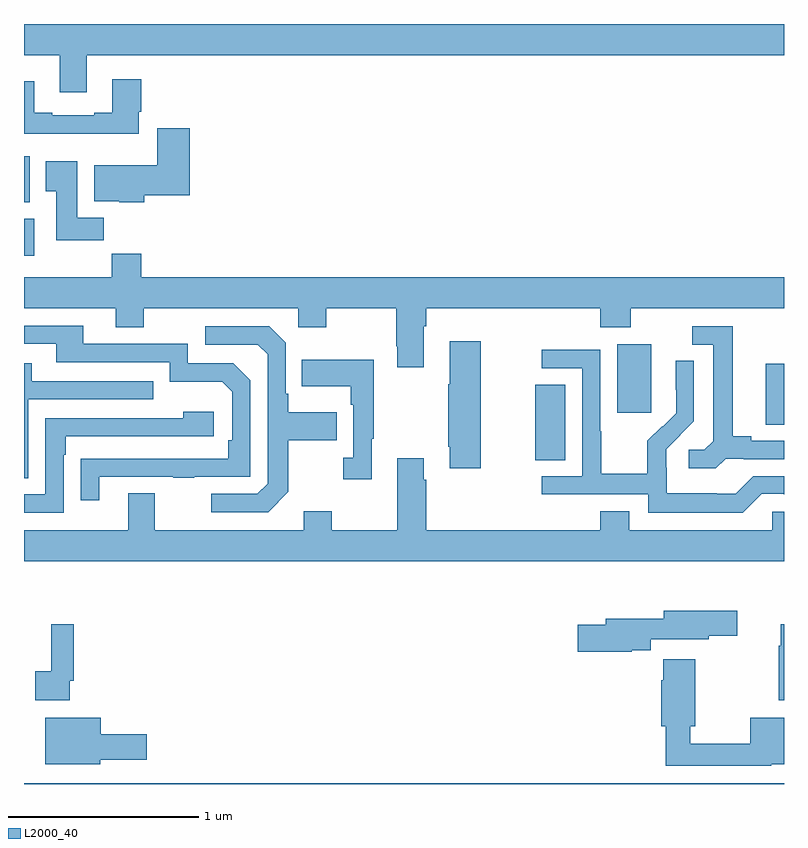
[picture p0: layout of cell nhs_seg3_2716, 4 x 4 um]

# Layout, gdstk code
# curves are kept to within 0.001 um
import gdstk
lib = gdstk.Library(unit=1e-6, precision=1e-09)
def R(c, l, rs):  # rectangles x0, y0, x1, y1
    for r in rs: c.add(gdstk.rectangle(r[:2], r[2:], *l))
def P(c, l, *ps):  # polygons
    for p in ps: c.add(gdstk.Polygon(p, *l))
L2000_40 = (2000, 40)

nhs_seg3_2716 = lib.new_cell('nhs_seg3_2716')
R(nhs_seg3_2716, L2000_40, [(251,710.4,255,710.404), (253.69,712.105,253.849,712.502), (254.903,712.291,255,712.611), (254.123,712.353,254.302,712.714), (251,713.18,251.053,713.374), (251,713.462,251.029,713.704)])
P(nhs_seg3_2716, L2000_40, [(251.329,714.236),(255,714.236),(255,714.4),(251,714.4),(251,714.236),(251.189,714.236),(251.189,714.042),(251.329,714.042)],
  [(251.605,713.938),(251.618,713.938),(251.618,714.109),(251.465,714.109),(251.465,713.932),(251.369,713.932),(251.369,713.919),(251.149,713.919),(251.149,713.932),(251.053,713.932),(251.053,714.1),(251,714.1),(251,713.822),(251.605,713.822)],
  [(251.633,713.498),(251.873,713.498),(251.873,713.851),(251.702,713.851),(251.702,713.656),(251.369,713.656),(251.369,713.468),(251.502,713.468),(251.502,713.462),(251.633,713.462)],
  [(251.42,713.38),(251.281,713.38),(251.281,713.677),(251.114,713.677),(251.114,713.521),(251.171,713.521),(251.171,713.262),(251.42,713.262)],
  [(253.105,712.808),(253.118,712.808),(253.118,712.904),(254.033,712.904),(254.033,712.805),(254.193,712.805),(254.193,712.904),(255,712.904),(255,713.068),(251.618,713.068),(251.618,713.192),(251.461,713.192),(251.461,713.068),(251,713.068),(251,712.904),(251.483,712.904),(251.483,712.805),(251.631,712.805),(251.631,712.904),(252.444,712.904),(252.444,712.805),(252.591,712.805),(252.591,712.904),(252.958,712.904),(252.958,712.705),(252.965,712.705),(252.965,712.593),(253.105,712.593)],
  [(251.395,712.017),(251.785,712.017),(251.785,712.012),(251.897,712.012),(251.897,712.017),(252.192,712.017),(252.192,712.524),(252.102,712.614),(251.862,712.614),(251.862,712.716),(251.311,712.716),(251.311,712.812),(251,712.812),(251,712.716),(251.171,712.716),(251.171,712.62),(251.766,712.62),(251.766,712.517),(252.043,712.517),(252.096,712.464),(252.096,712.21),(252.076,712.21),(252.076,712.113),(251.299,712.112),(251.299,711.894),(251.395,711.894)],
  [(254.694,712.113),(254.788,712.113),(254.788,712.11),(255,712.11),(255,712.206),(254.827,712.206),(254.827,712.229),(254.731,712.229),(254.731,712.809),(254.517,712.809),(254.517,712.713),(254.627,712.713),(254.627,712.205),(254.58,712.158),(254.499,712.158),(254.499,712.061),(254.642,712.061)],
  [(252.391,711.937),(252.391,712.21),(252.647,712.21),(252.647,712.357),(252.391,712.357),(252.391,712.453),(252.378,712.453),(252.378,712.722),(252.291,712.809),(251.955,712.809),(251.955,712.713),(252.231,712.713),(252.282,712.662),(252.282,711.981),(252.228,711.927),(251.985,711.927),(251.985,711.831),(252.285,711.831)],
  [(253.404,712.729),(253.241,712.729),(253.241,712.505),(253.234,712.505),(253.234,712.174),(253.241,712.174),(253.241,712.062),(253.404,712.062)],
  [(254.883,711.927),(254.999,711.927),(255,711.924),(255,712.02),(254.838,712.02),(254.745,711.927),(254.645,711.927),(254.645,711.931),(254.382,711.931),(254.382,712.065),(254.38,712.065),(254.38,712.162),(254.526,712.31),(254.526,712.628),(254.43,712.628),(254.43,712.474),(254.432,712.474),(254.432,712.352),(254.361,712.281),(254.358,712.284),(254.281,712.207),(254.281,712.033),(254.037,712.033),(254.037,712.256),(254.034,712.256),(254.034,712.686),(253.725,712.686),(253.725,712.587),(253.938,712.587),(253.938,712.02),(253.725,712.02),(253.725,711.924),(254.286,711.924),(254.286,711.827),(254.783,711.827)],
  [(252.829,712.217),(252.841,712.217),(252.841,712.633),(252.463,712.633),(252.463,712.493),(252.72,712.493),(252.72,712.397),(252.732,712.397),(252.732,712.118),(252.681,712.118),(252.681,712.005),(252.829,712.005)],
  [(251.022,712.425),(251.681,712.425),(251.681,712.521),(251.041,712.521),(251.041,712.615),(251,712.615),(251,712.009),(251.022,712.009)],
  [(251.208,712.133),(251.221,712.133),(251.221,712.23),(251.998,712.23),(251.998,712.36),(251.837,712.36),(251.837,712.326),(251.112,712.326),(251.112,711.924),(251,711.924),(251,711.828),(251.208,711.828)],
  [(255,711.834),(254.937,711.834),(254.937,711.736),(254.185,711.736),(254.185,711.835),(254.033,711.835),(254.033,711.736),(253.118,711.736),(253.118,712.001),(253.105,712.001),(253.105,712.114),(252.965,712.114),(252.965,711.736),(252.621,711.736),(252.621,711.835),(252.473,711.835),(252.473,711.736),(251.689,711.736),(251.689,711.931),(251.549,711.931),(251.549,711.736),(251,711.736),(251,711.572),(255,711.572)],
  [(254.198,711.104),(254.298,711.104),(254.298,711.162),(254.605,711.162),(254.605,711.179),(254.755,711.179),(254.755,711.313),(254.366,711.313),(254.366,711.271),(254.063,711.271),(254.063,711.237),(253.914,711.237),(253.914,711.095),(254.198,711.095)],
  [(255,711.241),(254.983,711.241),(254.983,711.128),(254.973,711.128),(254.973,710.84),(255,710.84)],
  [(251.241,710.944),(251.261,710.944),(251.261,711.241),(251.144,711.241),(251.144,710.993),(251.058,710.993),(251.058,710.84),(251.241,710.84)],
  [(254.934,710.504),(255,710.504),(255,710.749),(254.822,710.749),(254.822,710.612),(254.506,710.612),(254.506,710.705),(254.532,710.705),(254.532,711.057),(254.364,711.057),(254.364,710.945),(254.354,710.945),(254.354,710.705),(254.377,710.705),(254.377,710.496),(254.934,710.496)],
  [(251.4,710.528),(251.647,710.528),(251.647,710.663),(251.404,710.663),(251.404,710.749),(251.111,710.749),(251.111,710.504),(251.4,710.504)])

lib.write_gds('nhs_seg3_2716.gds')
